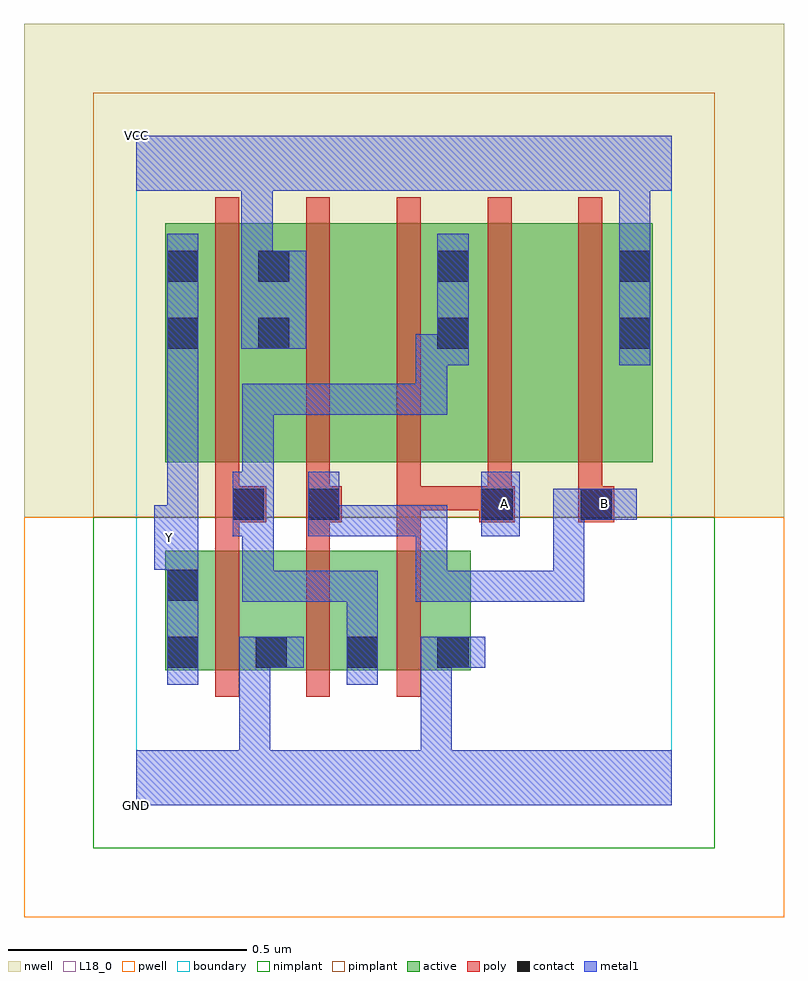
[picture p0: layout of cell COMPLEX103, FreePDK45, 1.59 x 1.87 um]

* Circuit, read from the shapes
.subckt COMPLEX103 A B GND VCC Y
M1 GND n1 Y VSUBS nfet w=0.25u l=0.05u
M2 n1 B GND VSUBS nfet w=0.25u l=0.05u
M3 GND A n1 VSUBS nfet w=0.25u l=0.05u
M4 VCC n1 Y n2 pfet w=0.5u l=0.05u
M5 n3 B VCC n2 pfet w=0.5u l=0.05u
M6 n1 A n3 n2 pfet w=0.5u l=0.05u
M7 n4 A n1 n2 pfet w=0.5u l=0.05u
M8 VCC B n4 n2 pfet w=0.5u l=0.05u
.ends

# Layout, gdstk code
import gdstk
lib = gdstk.Library(unit=1e-6, precision=1e-09)
def R(c, l, rs):  # rectangles x0, y0, x1, y1
    for r in rs: c.add(gdstk.rectangle(r[:2], r[2:], *l))
def A(c, l, x, y, w, h, nx, ny, dx, dy):  # array of equal rectangles
    R(c, l, [(x+i*dx, y+j*dy, x+i*dx+w, y+j*dy+h) for i in range(nx) for j in range(ny)])
active = (1, 0)
pwell = (2, 0)
nwell = (3, 0)
nimplant = (4, 0)
pimplant = (5, 0)
poly = (9, 0)
contact = (10, 0)
metal1 = (11, 0)
L18_0 = (18, 0)
boundary = (235, 0)

complex103 = lib.new_cell('COMPLEX103')
R(complex103, active, [(0.06,0.282,0.135,0.532), (0.06,0.282,0.32,0.532), (0.245,0.282,0.51,0.532), (0.245,0.282,0.32,0.497), (0.435,0.282,0.7,0.532), (0.435,0.282,0.51,0.357), (0.625,0.282,0.7,0.532), (0.06,0.717,0.135,1.165), (0.06,0.717,0.325,1.217), (0.25,0.717,0.475,1.217), (0.475,0.717,0.7,1.217), (0.625,0.717,0.855,1.217), (0.855,0.717,1.08,1.217), (1.005,0.717,1.08,1.165), (0.25,0.807,0.325,1.165), (0.625,0.807,0.7,1.165)])
R(complex103, pwell, [(-0.235,-0.235,1.355,0.602)])
R(complex103, nwell, [(-0.235,0.602,1.355,1.635)])
R(complex103, nimplant, [(-0.09,-0.09,1.21,0.602)])
R(complex103, pimplant, [(-0.09,0.602,1.21,1.49)])
A(complex103, poly, 0.165, 0.227, 0.05, 0.36, 3, 1, 0.19, 0)
A(complex103, poly, 0.165, 0.617, 0.05, 0.095, 5, 1, 0.19, 0)
A(complex103, poly, 0.165, 0.662, 0.05, 0.61, 5, 1, 0.19, 0)
R(complex103, poly, [(0.165,0.537,0.215,0.642), (0.355,0.537,0.405,0.642), (0.545,0.537,0.595,0.667), (0.165,0.592,0.272,0.667), (0.355,0.592,0.43,0.667), (0.717,0.592,0.792,0.667), (0.925,0.592,1,0.667), (0.545,0.617,0.595,0.667), (0.545,0.617,0.767,0.667), (0.717,0.617,0.767,0.667), (0.717,0.617,0.767,0.667)])
A(complex103, contact, 0.25, 0.287, 0.065, 0.065, 3, 1, 0.19, 0)
R(complex103, contact, [(0.065,0.287,0.13,0.352), (0.065,0.427,0.13,0.492), (0.202,0.597,0.267,0.662), (0.36,0.597,0.425,0.662), (0.722,0.597,0.787,0.662), (0.93,0.597,0.995,0.662), (0.065,0.955,0.13,1.02), (0.255,0.955,0.32,1.02), (0.63,0.955,0.695,1.02), (1.01,0.955,1.075,1.02), (0.065,1.095,0.13,1.16), (0.255,1.095,0.32,1.16), (0.63,1.095,0.695,1.16), (1.01,1.095,1.075,1.16)])
R(complex103, metal1, [(0,0,1.12,0.115), (0.215,0.05,0.28,0.115), (0.215,0.05,0.28,0.115), (0.215,0.05,0.28,0.115), (0.215,0.05,0.28,0.115), (0.215,0.05,0.28,0.352), (0.595,0.05,0.66,0.352), (0.065,0.252,0.13,0.527), (0.44,0.252,0.505,0.387), (0.215,0.287,0.35,0.352), (0.595,0.287,0.66,0.352), (0.595,0.287,0.66,0.352), (0.595,0.287,0.66,0.352), (0.595,0.287,0.66,0.352), (0.595,0.287,0.73,0.352), (0.44,0.322,0.505,0.387), (0.44,0.322,0.505,0.49), (0.222,0.425,0.287,0.49), (0.222,0.425,0.287,0.627), (0.222,0.425,0.505,0.49), (0.585,0.425,0.65,0.49), (0.585,0.425,0.822,0.49), (0.585,0.425,0.65,0.627), (0.757,0.425,0.822,0.49), (0.757,0.425,0.937,0.49), (0.872,0.425,0.937,0.49), (0.872,0.425,0.937,0.662), (0.065,0.462,0.13,0.557), (0.037,0.492,0.13,0.627), (0.065,0.562,0.13,0.985), (0.202,0.562,0.267,0.697), (0.202,0.562,0.287,0.627), (0.222,0.562,0.287,0.627), (0.222,0.562,0.287,0.882), (0.36,0.562,0.425,0.627), (0.36,0.562,0.425,0.627), (0.36,0.562,0.65,0.627), (0.36,0.562,0.425,0.697), (0.585,0.562,0.65,0.627), (0.585,0.562,0.65,0.627), (0.585,0.562,0.65,0.627), (0.722,0.562,0.802,0.697), (0.872,0.597,0.937,0.662), (0.872,0.597,0.96,0.662), (0.895,0.597,1.047,0.662), (0.222,0.817,0.287,0.882), (0.222,0.817,0.512,0.882), (0.447,0.817,0.512,0.882), (0.447,0.817,0.512,0.882), (0.447,0.817,0.512,0.882), (0.447,0.817,0.65,0.882), (0.585,0.817,0.65,0.985), (0.065,0.92,0.13,1.195), (0.585,0.92,0.695,0.985), (0.63,0.92,0.695,1.195), (1.01,0.92,1.075,1.195), (0.22,0.955,0.355,1.16), (0.22,1.095,0.285,1.16), (0.22,1.095,0.285,1.16), (0.22,1.095,0.285,1.35), (1.01,1.13,1.075,1.35), (0,1.285,1.12,1.4), (1.01,1.285,1.075,1.35), (1.01,1.285,1.075,1.35)])
R(complex103, L18_0, [(0,0,1.12,0.115), (0.215,0.05,0.28,0.115), (0.215,0.05,0.28,0.115), (0.215,0.05,0.28,0.115), (0.215,0.05,0.28,0.115), (0.215,0.05,0.28,0.352), (0.595,0.05,0.66,0.352), (0.065,0.252,0.13,0.527), (0.215,0.287,0.35,0.352), (0.595,0.287,0.66,0.352), (0.595,0.287,0.66,0.352), (0.595,0.287,0.66,0.352), (0.595,0.287,0.66,0.352), (0.595,0.287,0.73,0.352), (0.585,0.425,0.65,0.49), (0.585,0.425,0.65,0.627), (0.585,0.425,0.822,0.49), (0.757,0.425,0.822,0.49), (0.757,0.425,0.937,0.49), (0.872,0.425,0.937,0.49), (0.872,0.425,0.937,0.662), (0.065,0.462,0.13,0.557), (0.037,0.492,0.13,0.627), (0.037,0.527,0.102,0.592), (0.065,0.562,0.13,0.985), (0.36,0.562,0.425,0.627), (0.36,0.562,0.425,0.627), (0.36,0.562,0.425,0.697), (0.36,0.562,0.65,0.627), (0.585,0.562,0.65,0.627), (0.585,0.562,0.65,0.627), (0.585,0.562,0.65,0.627), (0.722,0.562,0.802,0.697), (0.737,0.597,0.802,0.662), (0.872,0.597,0.937,0.662), (0.872,0.597,0.96,0.662), (0.895,0.597,1.047,0.662), (0.947,0.597,1.012,0.662), (0.065,0.92,0.13,1.195), (1.01,0.92,1.075,1.195), (0.22,0.955,0.355,1.16), (0.22,1.095,0.285,1.16), (0.22,1.095,0.285,1.16), (0.22,1.095,0.285,1.35), (1.01,1.13,1.075,1.35), (0,1.285,1.12,1.4), (1.01,1.285,1.075,1.35), (1.01,1.285,1.075,1.35)])
R(complex103, boundary, [(0,0,1.12,1.4)])
complex103.add(gdstk.Label('A', (0.77,0.63), layer=11, texttype=0))
complex103.add(gdstk.Label('B', (0.98,0.63), layer=11, texttype=0))
complex103.add(gdstk.Label('Y', (0.07,0.56), layer=11, texttype=0))
complex103.add(gdstk.Label('VCC', (0,1.4), layer=11, texttype=0))
complex103.add(gdstk.Label('GND', (0,0), layer=11, texttype=0))

lib.write_gds('COMPLEX103.gds')
